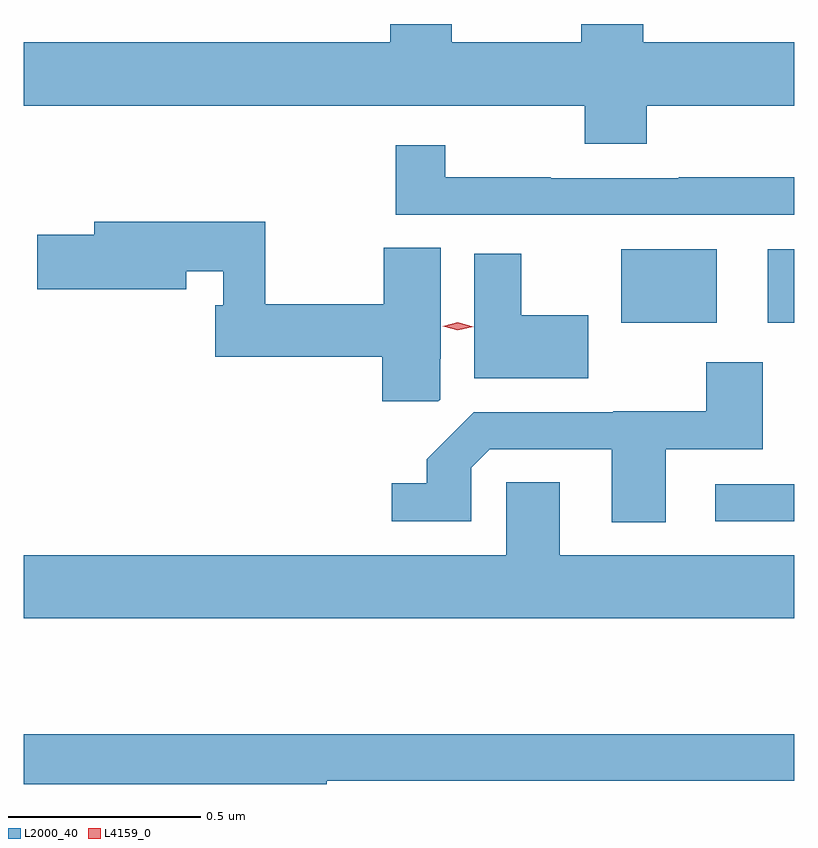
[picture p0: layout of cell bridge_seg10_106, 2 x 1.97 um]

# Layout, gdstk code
import gdstk
lib = gdstk.Library(unit=1e-6, precision=1e-09)
def R(c, l, rs):  # rectangles x0, y0, x1, y1
    for r in rs: c.add(gdstk.rectangle(r[:2], r[2:], *l))
def P(c, l, *ps):  # polygons
    for p in ps: c.add(gdstk.Polygon(p, *l))
L2000_40 = (2000, 40)
L4159_0 = (4159, 0)

bridge_seg10_106 = lib.new_cell('bridge_seg10_106')
R(bridge_seg10_106, L2000_40, [(482.559,1291.245,482.764,1291.341), (482.315,1291.76,482.563,1291.951), (482.696,1291.76,482.764,1291.951)])
P(bridge_seg10_106, L2000_40, [(482.381,1292.324),(482.764,1292.324),(482.764,1292.488),(482.372,1292.488),(482.372,1292.536),(482.212,1292.536),(482.212,1292.488),(481.875,1292.488),(481.875,1292.536),(481.715,1292.536),(481.715,1292.488),(480.764,1292.488),(480.764,1292.324),(482.221,1292.324),(482.221,1292.225),(482.381,1292.225)],
  [(482.764,1292.138),(482.464,1292.138),(482.464,1292.136),(482.132,1292.136),(482.132,1292.138),(481.858,1292.138),(481.858,1292.221),(481.729,1292.221),(481.729,1292.04),(482.764,1292.04)],
  [(481.845,1291.56),(481.845,1291.666),(481.846,1291.666),(481.846,1291.955),(481.699,1291.955),(481.699,1291.808),(481.39,1291.808),(481.39,1292.023),(480.947,1292.023),(480.947,1291.989),(480.798,1291.989),(480.798,1291.847),(481.186,1291.847),(481.186,1291.894),(481.281,1291.894),(481.281,1291.806),(481.261,1291.806),(481.261,1291.672),(481.694,1291.672),(481.694,1291.556),(481.84,1291.556)],
  [(482.23,1291.78),(482.056,1291.78),(482.056,1291.939),(481.934,1291.939),(481.934,1291.616),(482.23,1291.616)],
  [(482.431,1291.431),(482.683,1291.431),(482.683,1291.657),(482.536,1291.657),(482.536,1291.53),(482.295,1291.53),(482.295,1291.527),(481.932,1291.527),(481.81,1291.405),(481.81,1291.343),(481.719,1291.343),(481.719,1291.245),(481.926,1291.245),(481.926,1291.383),(481.974,1291.431),(482.291,1291.431),(482.291,1291.242),(482.431,1291.242)],
  [(482.764,1291.156),(482.155,1291.156),(482.155,1291.346),(482.016,1291.346),(482.016,1291.156),(480.764,1291.156),(480.764,1290.992),(482.764,1290.992)],
  [(481.551,1290.57),(482.764,1290.57),(482.764,1290.691),(480.764,1290.691),(480.764,1290.562),(481.551,1290.562)])
P(bridge_seg10_106, L4159_0, [(481.891,1291.741),(481.852,1291.751),(481.851,1291.751),(481.852,1291.751),(481.891,1291.761),(481.931,1291.75),(481.931,1291.75),(481.931,1291.75)])

lib.write_gds('bridge_seg10_106.gds')
